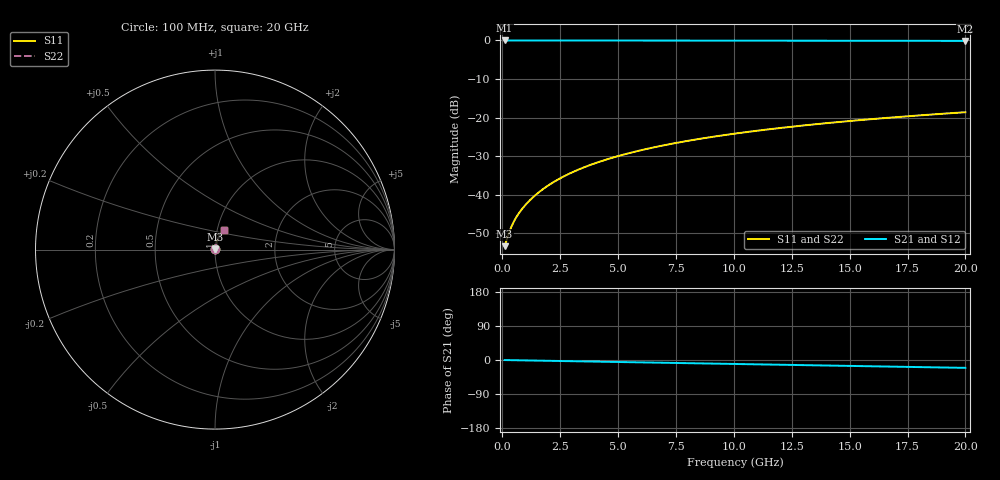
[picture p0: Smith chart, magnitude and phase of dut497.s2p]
! Touchstone file exported from HFSS 2026.1.0
!  File:  C:/ffzhzh/LocalFiles/Ansys_Project_Files/temp_train_TMRDL_497_1783006684_53980.aedt
!  Generated:  11:39:24 PM Jul  2, 2026
!  Design:  TMRDL
!  Project:  temp_train_TMRDL_497_1783006684_53980
! Variables:
!  h_bsmrdl = 2um
!  h_ox = 20um
!  h_rdl = 5um
!  h_sub = 80um
!  h_tmrdl = 2.6um
!  h_tsv = 80um
!  h_via = 3um
!  l_bsmrdl = 300um
!  l_sub = 724.17um
!  l_tmrdl = 324.17um
!  m_sub = 200um
!  pitch = 37.39um
!  r_tsv = 6um
!  s_tmrdl = 10um
!  w_bsmrdl = 18um
!  w_sub = 500um
!  w_tmrdl = 27.01um
!  x_tsv_center1 = 337.675um
!  x_tsv_center2 = 655.675um
!  x_tsv_center3 = 1006.855um
!  x_tsv_center4 = 1324.855um
!  x_tsv_center5 = 1676.035um
!  x_tsv_center6 = 1994.035um
# GHz S MA R 50.000000
! Terminal data exported
! Port[1] = TM_RDL1_1_T1
! Port[2] = TM_RDL1_1_T2
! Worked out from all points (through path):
!   200 points, 100 MHz to 20 GHz, reference 50 ohm
!   highest |S21| = -0.02 dB at 100 MHz (marker M1); lowest = -0.1 dB at 20 GHz (marker M2)
!   group delay of S21, straight-line fit = 2.88 ps
!   lowest |S11| = -53.3 dB at 100 MHz (marker M3), VSWR 1.00, Z = 50.2 + j0.085 ohm
!   |S11| at or under -10 dB: start of sweep to end of sweep
!   |S22| runs from -53.3 to -18.6 dB; largest |S21 - S12| = 4.2e-15
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0.1  0.002163 23.0  0.998 -0.1  0.998 -0.1  0.002163 23.0
! Gamma 0 0 0 0
! Port Impedance 50 0 50 0
0.3  0.003287 46.7  0.9978 -0.3  0.9978 -0.3  0.003287 46.7
0.4  0.003908 52.0  0.9976 -0.5  0.9976 -0.5  0.003908 52.0
0.5  0.004513 55.6  0.9975 -0.6  0.9975 -0.6  0.004513 55.6
0.6  0.005102 58.5  0.9974 -0.7  0.9974 -0.7  0.005102 58.5
0.8  0.006253 62.8  0.9972 -0.9  0.9972 -0.9  0.006253 62.8
1  0.007399 66.0  0.9971 -1.1  0.9971 -1.1  0.007399 66.0
1.2  0.008557 68.5  0.997 -1.3  0.997 -1.3  0.008557 68.5
1.7  0.01151 72.7  0.9969 -1.8  0.9969 -1.8  0.01151 72.7
2.2  0.01454 75.1  0.9968 -2.3  0.9968 -2.3  0.01454 75.1
2.8  0.01821 76.7  0.9966 -3.0  0.9966 -3.0  0.01821 76.7
3.5  0.02252 77.6  0.9964 -3.7  0.9964 -3.7  0.02252 77.6
4.2  0.02683 77.9  0.9961 -4.4  0.9961 -4.4  0.02683 77.9
5  0.03175 78.0  0.9958 -5.3  0.9958 -5.3  0.03175 78.0
5.9  0.03726 77.7  0.9953 -6.2  0.9953 -6.2  0.03726 77.7
6.8  0.04272 77.2  0.9949 -7.2  0.9949 -7.2  0.04272 77.2
8.3  0.05174 76.1  0.994 -8.7  0.994 -8.7  0.05173 76.1
10.1  0.06237 74.6  0.9928 -10.6  0.9928 -10.6  0.06237 74.6
11.7  0.07166 73.2  0.9917 -12.3  0.9917 -12.3  0.07166 73.2
13.4  0.08136 71.6  0.9905 -14.0  0.9905 -14.0  0.08136 71.6
16.7  0.09971 68.5  0.9879 -17.4  0.9879 -17.4  0.0997 68.5
20  0.1174 65.4  0.9852 -20.7  0.9852 -20.7  0.1174 65.4
